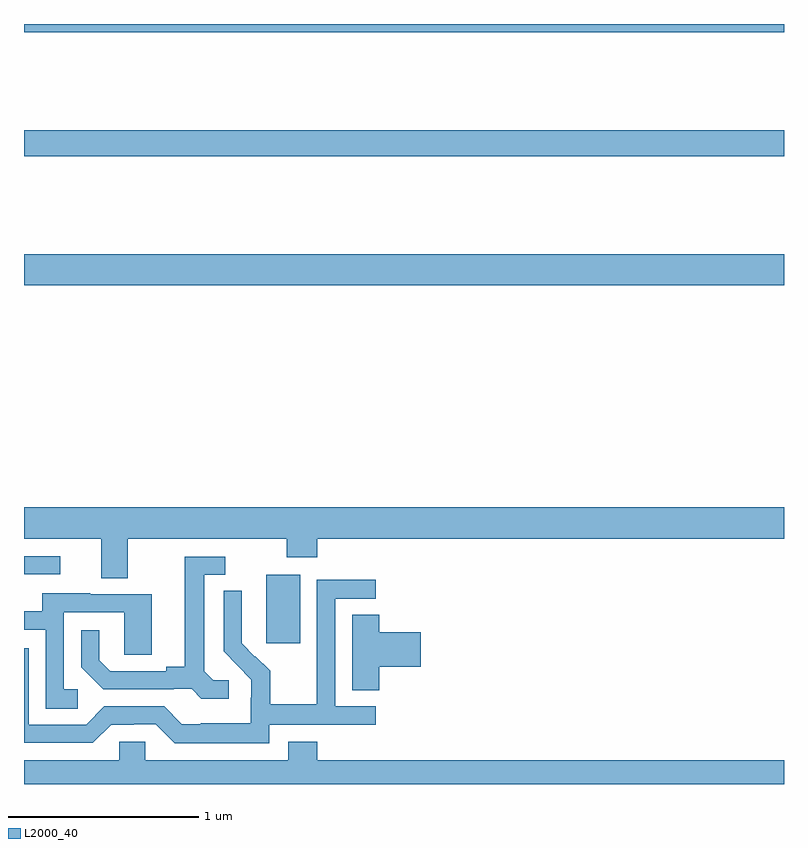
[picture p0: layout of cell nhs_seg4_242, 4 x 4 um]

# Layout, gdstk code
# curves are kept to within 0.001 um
import gdstk
lib = gdstk.Library(unit=1e-6, precision=1e-09)
def R(c, l, rs):  # rectangles x0, y0, x1, y1
    for r in rs: c.add(gdstk.rectangle(r[:2], r[2:], *l))
def P(c, l, *ps):  # polygons
    for p in ps: c.add(gdstk.Polygon(p, *l))
L2000_40 = (2000, 40)

nhs_seg4_242 = lib.new_cell('nhs_seg4_242')
R(nhs_seg4_242, L2000_40, [(124.274,757.641,124.453,758.002), (123,758.004,123.19,758.1), (123,759.524,127,759.688), (123,760.204,127,760.34), (123,760.856,127,760.9)])
P(nhs_seg4_242, L2000_40, [(123.547,758.192),(124.384,758.192),(124.384,758.093),(124.544,758.093),(124.544,758.192),(127,758.192),(127,758.356),(123,758.356),(123,758.192),(123.407,758.192),(123.407,757.984),(123.547,757.984)],
  [(124.078,757.446),(123.996,757.446),(123.949,757.493),(123.949,758.001),(124.06,758.001),(124.06,758.097),(123.845,758.097),(123.845,757.517),(123.749,757.517),(123.749,757.494),(123.454,757.494),(123.397,757.551),(123.397,757.708),(123.3,757.708),(123.3,757.514),(123.416,757.398),(123.788,757.398),(123.788,757.401),(123.882,757.401),(123.934,757.349),(124.078,757.349)],
  [(124.29,757.212),(124.852,757.212),(124.852,757.308),(124.638,757.308),(124.638,757.875),(124.852,757.875),(124.852,757.974),(124.542,757.974),(124.542,757.544),(124.54,757.544),(124.54,757.321),(124.295,757.321),(124.295,757.495),(124.218,757.572),(124.215,757.569),(124.145,757.64),(124.146,757.916),(124.05,757.916),(124.05,757.598),(124.196,757.45),(124.196,757.353),(124.194,757.353),(124.194,757.219),(123.931,757.219),(123.931,757.215),(123.831,757.215),(123.738,757.308),(123.423,757.308),(123.327,757.212),(123.024,757.212),(123.024,757.614),(123,757.614),(123,757.116),(123.363,757.116),(123.459,757.212),(123.578,757.212),(123.578,757.215),(123.693,757.215),(123.793,757.115),(124.29,757.115)],
  [(123.283,757.398),(123.21,757.398),(123.21,757.803),(123.528,757.803),(123.528,757.579),(123.673,757.579),(123.673,757.899),(123.349,757.899),(123.349,757.903),(123.095,757.903),(123.095,757.809),(123,757.809),(123,757.713),(123.114,757.713),(123.114,757.297),(123.283,757.297)],
  [(124.871,757.517),(125.089,757.517),(125.089,757.7),(124.871,757.7),(124.871,757.79),(124.727,757.79),(124.727,757.393),(124.871,757.393)],
  [(127,757.024),(124.544,757.024),(124.544,757.123),(124.391,757.123),(124.391,757.024),(123.639,757.024),(123.639,757.122),(123.501,757.122),(123.501,757.024),(123,757.024),(123,756.9),(127,756.9)])

lib.write_gds('nhs_seg4_242.gds')
